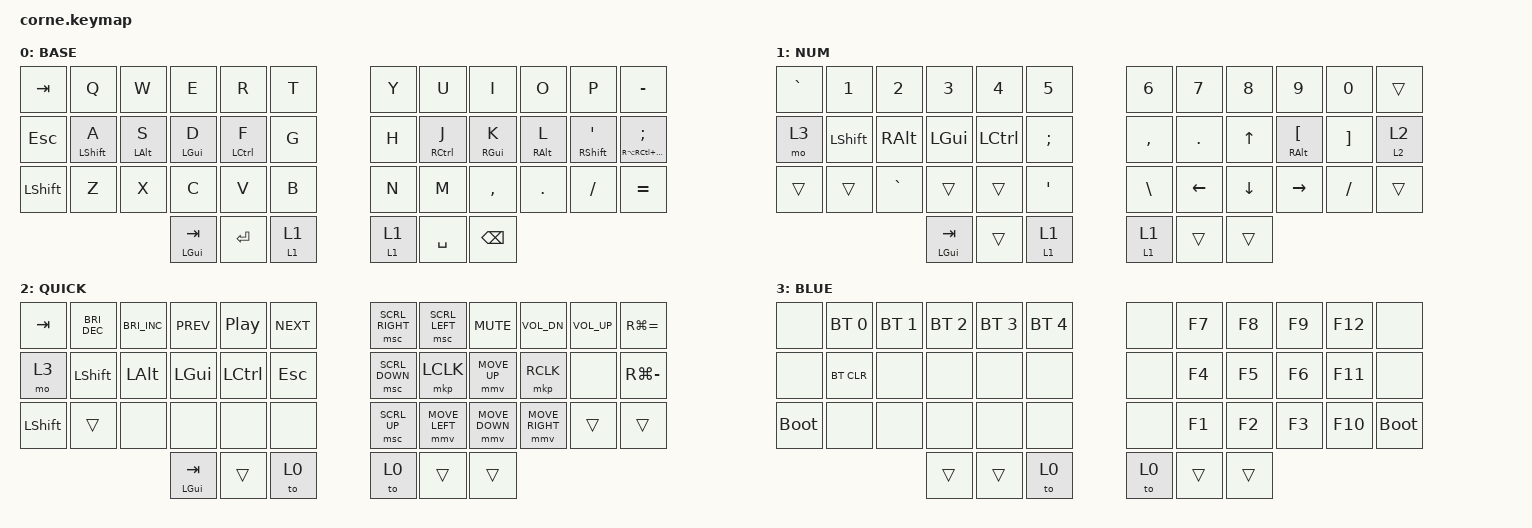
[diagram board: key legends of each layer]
/*
 * Copyright (c) 2020 The ZMK Contributors
 *
 * SPDX-License-Identifier: MIT
 */

#include <behaviors.dtsi>
#include <dt-bindings/zmk/bt.h>
#include <dt-bindings/zmk/keys.h>
#include <dt-bindings/zmk/pointing.h>

/ {
    behaviors {
        hm: homerow_mods {
            compatible = "zmk,behavior-hold-tap";
            label = "HOMEROW_MODS";
            #binding-cells = <2>;
            tapping-term-ms = <200>;
            quick_tap_ms = <0>;
            flavor = "tap-preferred";
            bindings = <&kp>, <&kp>;

            quick-tap-ms = <180>;
            global-quick-tap;
        };

        ltq: ltq {
            compatible = "zmk,behavior-hold-tap";
            label = "LTQ";
            bindings = <&mo>, <&kp>;

            #binding-cells = <2>;
            tapping-term-ms = <600>;
            global-quick-tap;
            quick-tap-ms = <400>;
        };

        layer_tap_hold: layer_tap_hold {
            compatible = "zmk,behavior-hold-tap";
            label = "LAYER_TAP_HOLD";
            bindings = <&mo>, <&tog>;

            #binding-cells = <2>;
            tapping-term-ms = <200>;
            flavor = "balanced";
        };

        hm_l: homerow_left {
            compatible = "zmk,behavior-hold-tap";
            label = "HOMEROW_LEFT";
            bindings = <&kp>, <&kp>;

            #binding-cells = <2>;
            tapping-term-ms = <280>;
            quick-tap-ms = <175>;
            require-prior-idle-ms = <150>;
            flavor = "balanced";
            hold-trigger-on-release;
            hold-trigger-key-positions = <6 7 8 9 10 11 18 19 20 21 22 23 30 31 32 33 34 35 40 41 39 36 37 38 36>;
        };

        hm_r: homerow_right {
            compatible = "zmk,behavior-hold-tap";
            label = "HOMEROW_RIGHT";
            bindings = <&kp>, <&kp>;

            #binding-cells = <2>;
            tapping-term-ms = <280>;
            quick-tap-ms = <175>;
            require-prior-idle-ms = <150>;
            flavor = "balanced";
            hold-trigger-on-release;
            hold-trigger-key-positions = <0 1 5 12 13 14 15 16 17 24 25 26 27 28 29 36 37 38 2 4 3 39 40 41>;
        };

        rhrm: rhrm {
            compatible = "zmk,behavior-hold-tap";
            label = "RHRM";
            bindings = <&kp>, <&kp>;

            #binding-cells = <2>;
            tapping-term-ms = <300>;
            quick-tap-ms = <150>;
            require-prior-idle-ms = <125>;
            flavor = "tap-preferred";
            hold-trigger-on-release;
            hold-trigger-key-positions = <0 1 2 3 4 5 12 13 14 15 16 17 24 25 26 27 28 29 36 37 38 40 41 39>;
        };

        lhrm: lhrm {
            compatible = "zmk,behavior-hold-tap";
            label = "LHRM";
            bindings = <&kp>, <&kp>;

            #binding-cells = <2>;
            tapping-term-ms = <300>;
            quick-tap-ms = <150>;
            require-prior-idle-ms = <125>;
            flavor = "tap-preferred";
            hold-trigger-on-release;
            hold-trigger-key-positions = <36 37 38 36 37 36 37 38 6 7 8 9 10 11 18 19 20 21 22 23 30 31 32 33 34 35 39 40 41>;
        };

        dot_slash: dot_slash {
            compatible = "zmk,behavior-mod-morph";
            label = "DOT_SLASH";
            bindings = <&kp PERIOD>, <&kp SLASH>;

            #binding-cells = <0>;
            mods = <(MOD_LSFT)>;
        };

        shift_caps: shift_caps {
            compatible = "zmk,behavior-tap-dance";
            label = "SHIFT_CAPS";
            #binding-cells = <0>;
            bindings = <&kp LEFT_SHIFT>, <&caps_word>;
        };
    };

    combos {
        compatible = "zmk,combos";

        combo_base {
            bindings = <&to 0>;
            key-positions = <26 27 28>;
        };

        spotlight_left {
            bindings = <&kp LG(SPACE)>;
            key-positions = <2 3 4>;
        };

        spotlight_right {
            bindings = <&kp RG(SPACE)>;
            key-positions = <7 8 9>;
        };

        lock_screen {
            bindings = <&kp LG(LC(Q))>;
            key-positions = <4 5 6 7>;
        };

        escape {
            bindings = <&kp ESC>;
            key-positions = <25 26>;
        };

        bootloader {
            bindings = <&bootloader>;
            key-positions = <0 12 11 23>;
        };
    };

    keymap {
        compatible = "zmk,keymap";

        base_layer {
            bindings = <
&kp TAB         &kp Q               &kp W             &kp E             &kp R          &kp T                  &kp Y                &kp U                  &kp I              &kp O              &kp P                  &kp MINUS
&kp ESC         &hm_l LEFT_SHIFT A  &hm_l LEFT_ALT S  &hm_l LEFT_GUI D  &hm_l LCTRL F  &kp G                  &kp H                &hm_r RIGHT_CONTROL J  &hm_r RIGHT_GUI K  &hm_r RIGHT_ALT L  &hm_r RIGHT_SHIFT SQT  &mt RA(RC(RIGHT_SHIFT)) SEMICOLON
&kp LEFT_SHIFT  &kp Z               &kp X             &kp C             &kp V          &kp B                  &kp N                &kp M                  &kp COMMA          &kp DOT            &kp FSLH               &kp EQUAL
                                                      &mt LEFT_GUI TAB  &kp ENTER      &layer_tap_hold 1 1    &layer_tap_hold 1 1  &kp SPACE              &kp BACKSPACE
            >;

            label = "BASE";
        };

        num_layer {
            bindings = <
&kp GRAVE  &kp N1          &kp N2         &kp N3            &kp N4            &kp N5                 &kp N6               &kp N7          &kp N8          &kp N9                 &kp N0             &trans
&mo 3      &kp LEFT_SHIFT  &kp RIGHT_ALT  &kp LGUI          &kp LEFT_CONTROL  &kp SEMICOLON          &kp COMMA            &kp PERIOD      &kp UP_ARROW    &mt RALT LEFT_BRACKET  &kp RIGHT_BRACKET  &layer_tap_hold 2 2
&trans     &trans          &kp GRAVE      &trans            &trans            &kp SQT                &kp BACKSLASH        &kp LEFT_ARROW  &kp DOWN_ARROW  &kp RIGHT              &kp SLASH          &trans
                                          &mt LEFT_GUI TAB  &trans            &layer_tap_hold 1 1    &layer_tap_hold 1 1  &trans          &trans
            >;

            label = "NUM";
        };

        quick_layer {
            bindings = <
&kp TAB         &kp C_BRIGHTNESS_DEC  &kp C_BRIGHTNESS_INC  &kp C_PREV        &kp C_PLAY_PAUSE  &kp C_NEXT    &msc SCRL_RIGHT  &msc SCRL_LEFT  &kp K_MUTE      &kp C_VOL_DN     &kp C_VOL_UP  &kp RG(EQUAL)
&mo 3           &kp LEFT_SHIFT        &kp LEFT_ALT          &kp LEFT_GUI      &kp LEFT_CONTROL  &kp ESCAPE    &msc SCRL_DOWN   &mkp LCLK       &mmv MOVE_UP    &mkp RCLK        &none         &kp RG(MINUS)
&kp LEFT_SHIFT  &trans                &none                 &none             &none             &none         &msc SCRL_UP     &mmv MOVE_LEFT  &mmv MOVE_DOWN  &mmv MOVE_RIGHT  &trans        &trans
                                                            &mt LEFT_GUI TAB  &trans            &to 0         &to 0            &trans          &trans
            >;

            label = "QUICK";
        };

        bluetooth_layer {
            bindings = <
&none        &bt BT_SEL 0  &bt BT_SEL 1  &bt BT_SEL 2  &bt BT_SEL 3  &bt BT_SEL 4    &none  &kp F7  &kp F8  &kp F9  &kp F12  &none
&none        &bt BT_CLR    &none         &none         &none         &none           &none  &kp F4  &kp F5  &kp F6  &kp F11  &none
&bootloader  &none         &none         &none         &none         &none           &none  &kp F1  &kp F2  &kp F3  &kp F10  &bootloader
                                         &trans        &trans        &to 0           &to 0  &trans  &trans
            >;

            label = "BLUE";
        };
    };
};
